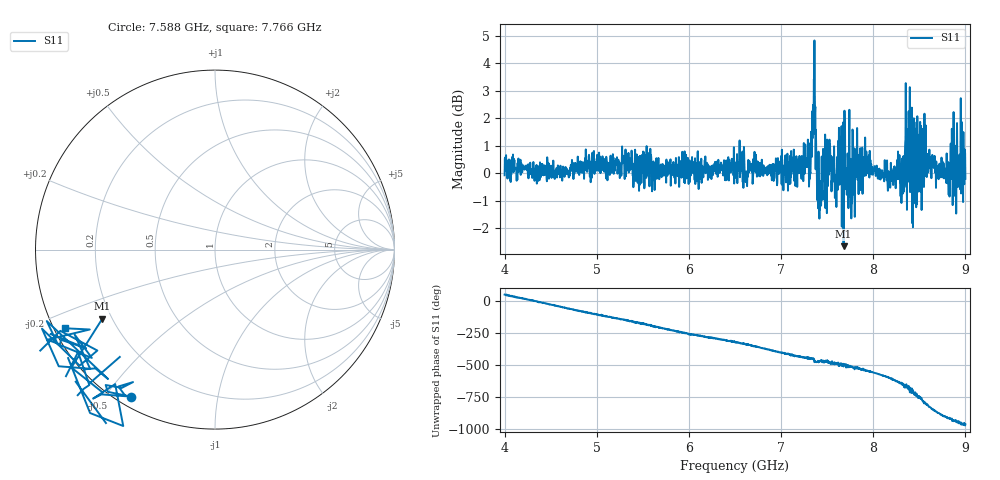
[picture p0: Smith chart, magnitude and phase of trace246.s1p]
! Created with skrf 1.8.0 (http://scikit-rf.org).
# Hz S RI R 50.0
!freq ReS11 ImS11
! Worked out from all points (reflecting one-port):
!   1601 points, 4 GHz to 9 GHz, reference 50 ohm
!   lowest |S11| = -2.7 dB at 7.678 GHz (marker M1), VSWR 6.59, Z = 8.18 - j13.8 ohm
!   phase of S11 starts at 53 deg and turns -1013 deg over the sweep
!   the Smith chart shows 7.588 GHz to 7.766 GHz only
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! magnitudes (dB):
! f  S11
! 4 GHz  -0.1
! 4.625 GHz  -0.3
! 5.25 GHz  -0.2
! 5.875 GHz  0.3
! 6.5 GHz  0.0
! 7.125 GHz  0.3
! 7.297 GHz  0.8
! 7.328 GHz  1.0
! 7.347 GHz  2.5
! 7.369 GHz  2.3
! 7.4 GHz  -0.3
! 7.412 GHz  -1.1
! 7.525 GHz  1.2
! 7.591 GHz  -0.1
! 7.647 GHz  1.3
! 7.678 GHz  -2.7
! 7.75 GHz  0.0
! 7.938 GHz  0.4
! 8.316 GHz  0.3
! 8.375 GHz  -0.2
! 8.394 GHz  1.4
! 8.447 GHz  1.9
! 8.459 GHz  -0.7
! 8.522 GHz  1.0
! 8.706 GHz  0.1
! 8.806 GHz  -0.4
! 8.972 GHz  0.4
! 9 GHz  -0.2
